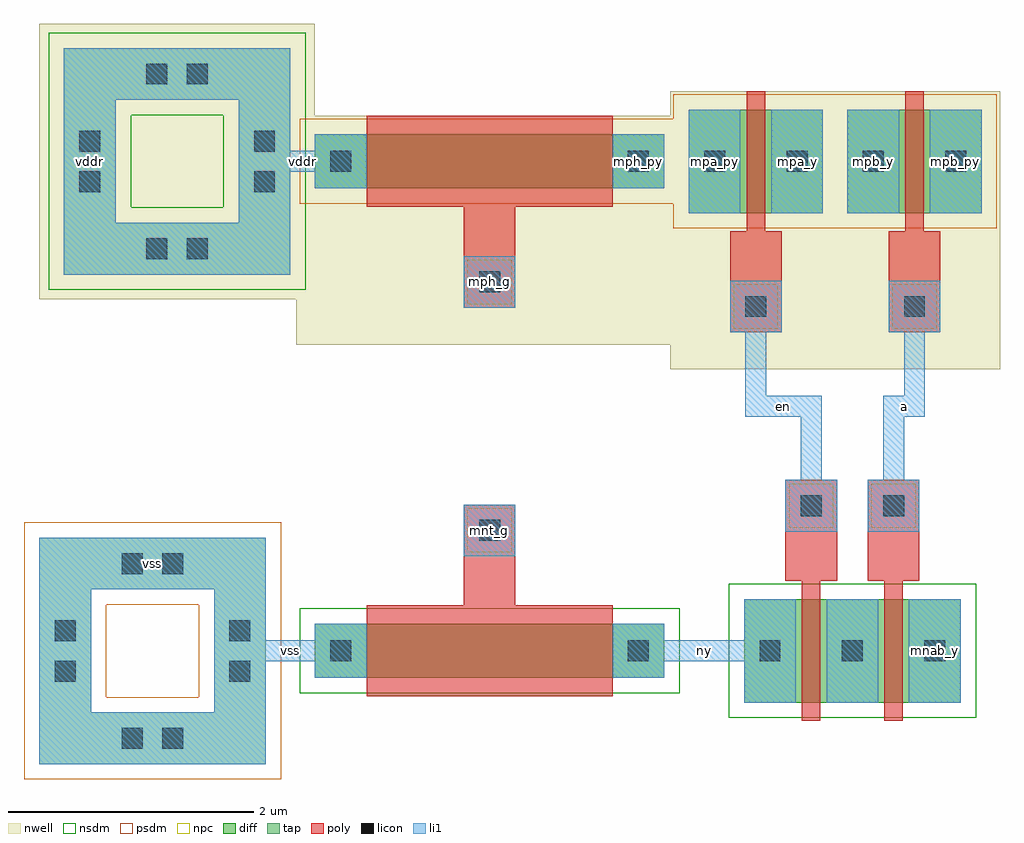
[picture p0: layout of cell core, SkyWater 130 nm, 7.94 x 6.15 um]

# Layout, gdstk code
from math import pi, radians
import gdstk
lib = gdstk.Library(unit=1e-6, precision=1e-09)
def R(c, l, rs):  # rectangles x0, y0, x1, y1
    for r in rs: c.add(gdstk.rectangle(r[:2], r[2:], *l))
def A(c, l, x, y, w, h, nx, ny, dx, dy):  # array of equal rectangles
    R(c, l, [(x+i*dx, y+j*dy, x+i*dx+w, y+j*dy+h) for i in range(nx) for j in range(ny)])
def P(c, l, *ps):  # polygons
    for p in ps: c.add(gdstk.Polygon(p, *l))
nwell = (64, 20)
diff = (65, 20)
tap = (65, 44)
poly = (66, 20)
licon = (66, 44)
li1 = (67, 20)
nsdm = (93, 44)
psdm = (94, 20)
npc = (95, 20)

mos_array = lib.new_cell('mos_array')
R(mos_array, nwell, [(-0.15,-0.15,2.99,1.71)])
R(mos_array, diff, [(0,0,2.84,0.44)])
R(mos_array, poly, [(0.42,-0.15,2.42,0.44), (0.42,0.44,2.42,0.59), (0.42,0.44,2.42,0.59), (1.21,0.59,1.63,1.41)])
R(mos_array, licon, [(0.125,0.135,0.295,0.305), (2.545,0.135,2.715,0.305), (1.335,1.115,1.505,1.285)])
R(mos_array, li1, [(0,0,0.42,0.44), (2.42,0,2.84,0.44), (1.21,0.99,1.63,1.41)])
R(mos_array, psdm, [(-0.125,-0.125,2.965,0.565)])
R(mos_array, npc, [(1.24,1.02,1.6,1.38)])

mph__mph = lib.new_cell('mph__mph')
mph__mph.add(gdstk.Reference(mos_array, (0,0)))

mos_array_1 = lib.new_cell('mos_array$1')
R(mos_array_1, nwell, [(-0.15,-0.15,1.24,2.11)])
R(mos_array_1, diff, [(0,0,1.09,0.84)])
R(mos_array_1, poly, [(0.47,-0.15,0.62,0.84), (0.47,0.84,0.62,0.99), (0.47,0.84,0.62,0.99), (0.335,0.99,0.755,1.81)])
R(mos_array_1, licon, [(0.125,0.335,0.295,0.505), (0.795,0.335,0.965,0.505), (0.46,1.515,0.63,1.685)])
R(mos_array_1, li1, [(0,0,0.42,0.84), (0.67,0,1.09,0.84), (0.335,1.39,0.755,1.81)])
R(mos_array_1, psdm, [(-0.125,-0.125,1.215,0.965)])
R(mos_array_1, npc, [(0.365,1.42,0.725,1.78)])

mpa__mpa = lib.new_cell('mpa__mpa')
mpa__mpa.add(gdstk.Reference(mos_array_1, (0,0)))

mos_array_2 = lib.new_cell('mos_array$2')
R(mos_array_2, nwell, [(-0.15,-0.15,1.24,2.11)])
R(mos_array_2, diff, [(0,0,1.09,0.84)])
R(mos_array_2, poly, [(0.47,-0.15,0.62,0.84), (0.47,0.84,0.62,0.99), (0.47,0.84,0.62,0.99), (0.335,0.99,0.755,1.81)])
R(mos_array_2, licon, [(0.125,0.335,0.295,0.505), (0.795,0.335,0.965,0.505), (0.46,1.515,0.63,1.685)])
R(mos_array_2, li1, [(0,0,0.42,0.84), (0.67,0,1.09,0.84), (0.335,1.39,0.755,1.81)])
R(mos_array_2, psdm, [(-0.125,-0.125,1.215,0.965)])
R(mos_array_2, npc, [(0.365,1.42,0.725,1.78)])

mpb__mpb = lib.new_cell('mpb__mpb')
mpb__mpb.add(gdstk.Reference(mos_array_2, (0,0)))

mos_array_3 = lib.new_cell('mos_array$3')
R(mos_array_3, diff, [(0,0,2.84,0.44)])
R(mos_array_3, poly, [(0.42,-0.15,2.42,0.44), (0.42,0.44,2.42,0.59), (0.42,0.44,2.42,0.59), (1.21,0.59,1.63,1.41)])
R(mos_array_3, licon, [(0.125,0.135,0.295,0.305), (2.545,0.135,2.715,0.305), (1.335,1.115,1.505,1.285)])
R(mos_array_3, li1, [(0,0,0.42,0.44), (2.42,0,2.84,0.44), (1.21,0.99,1.63,1.41)])
R(mos_array_3, nsdm, [(-0.125,-0.125,2.965,0.565)])
R(mos_array_3, npc, [(1.24,1.02,1.6,1.38)])

mnt__mnt = lib.new_cell('mnt__mnt')
mnt__mnt.add(gdstk.Reference(mos_array_3, (0,0)))

mos_array_4 = lib.new_cell('mos_array$4')
R(mos_array_4, diff, [(0,0,1.76,0.84)])
R(mos_array_4, poly, [(0.47,-0.15,0.62,0.84), (1.14,-0.15,1.29,0.84), (0.47,0.84,0.62,0.99), (0.47,0.84,0.62,0.99), (1.14,0.84,1.29,0.99), (1.14,0.84,1.29,0.99), (0.335,0.99,0.755,1.81), (1.005,0.99,1.425,1.81)])
A(mos_array_4, licon, 0.125, 0.335, 0.17, 0.17, 3, 1, 0.67, 0)
R(mos_array_4, licon, [(0.46,1.515,0.63,1.685), (1.13,1.515,1.3,1.685)])
A(mos_array_4, li1, 0, 0, 0.42, 0.84, 3, 1, 0.67, 0)
R(mos_array_4, li1, [(0.335,1.39,0.755,1.81), (1.005,1.39,1.425,1.81)])
R(mos_array_4, nsdm, [(-0.125,-0.125,1.885,0.965)])
R(mos_array_4, npc, [(0.365,1.42,0.725,1.78), (1.035,1.42,1.395,1.78)])

mnab__mnab = lib.new_cell('mnab__mnab')
mnab__mnab.add(gdstk.Reference(mos_array_4, (0,0)))

guard_ring = lib.new_cell('guard_ring')
R(guard_ring, nwell, [(-0.2,-0.2,2.04,2.04)])
P(guard_ring, tap, [(0,0),(0,1.42),(0.42,1.42),(0.42,0.42),(1.42,0.42),(1.42,1.42),(0,1.42),(0,1.84),(1.84,1.84),(1.84,0)])
R(guard_ring, licon, [(0.67,0.125,0.84,0.295), (1,0.125,1.17,0.295), (0.125,0.67,0.295,0.84), (1.545,0.67,1.715,0.84), (0.125,1,0.295,1.17), (1.545,1,1.715,1.17), (0.67,1.545,0.84,1.715), (1,1.545,1.17,1.715)])
P(guard_ring, li1, [(0,0),(0,1.42),(0.42,1.42),(0.42,0.42),(1.42,0.42),(1.42,1.42),(0,1.42),(0,1.84),(1.84,1.84),(1.84,0)])
P(guard_ring, nsdm, [(-0.125,-0.125),(-0.125,1.295),(0.545,1.295),(0.545,0.545),(1.295,0.545),(1.295,1.295),(-0.125,1.295),(-0.125,1.965),(1.965,1.965),(1.965,-0.125)])

nwell_tap__nwell_tap = lib.new_cell('nwell_tap__nwell_tap')
nwell_tap__nwell_tap.add(gdstk.Reference(guard_ring, (0,0)))

guard_ring_1 = lib.new_cell('guard_ring$1')
P(guard_ring_1, tap, [(0,0),(0,1.42),(0.42,1.42),(0.42,0.42),(1.42,0.42),(1.42,1.42),(0,1.42),(0,1.84),(1.84,1.84),(1.84,0)])
R(guard_ring_1, licon, [(0.67,0.125,0.84,0.295), (1,0.125,1.17,0.295), (0.125,0.67,0.295,0.84), (1.545,0.67,1.715,0.84), (0.125,1,0.295,1.17), (1.545,1,1.715,1.17), (0.67,1.545,0.84,1.715), (1,1.545,1.17,1.715)])
P(guard_ring_1, li1, [(0,0),(0,1.42),(0.42,1.42),(0.42,0.42),(1.42,0.42),(1.42,1.42),(0,1.42),(0,1.84),(1.84,1.84),(1.84,0)])
P(guard_ring_1, psdm, [(-0.125,-0.125),(-0.125,1.295),(0.545,1.295),(0.545,0.545),(1.295,0.545),(1.295,1.295),(-0.125,1.295),(-0.125,1.965),(1.965,1.965),(1.965,-0.125)])

psub_tap__psub_tap = lib.new_cell('psub_tap__psub_tap')
psub_tap__psub_tap.add(gdstk.Reference(guard_ring_1, (0,0)))

core = lib.new_cell('core')
R(core, li1, [(3.825,1.39,4.245,1.56), (4.495,1.39,4.915,1.56), (3.375,2.84,3.795,3.01), (4.665,2.84,5.085,3.01)])
core.add(gdstk.FlexPath([(0.21,4.19),(-0.41,4.19)], 0.17, ends="flush", simple_path=True, layer=67, datatype=20))  # li1
core.add(gdstk.FlexPath([(0.21,0.21),(-0.61,0.21)], 0.17, ends="flush", simple_path=True, layer=67, datatype=20))  # li1
core.add(gdstk.FlexPath([(2.63,0.21),(3.7,0.21)], 0.17, ends="flush", simple_path=True, layer=67, datatype=20))  # li1
core.add(gdstk.FlexPath([(3.585,3.01),(3.585,2.2),(4.035,2.2),(4.035,1.39)], 0.17, ends="flush", simple_path=True, layer=67, datatype=20))  # li1
core.add(gdstk.FlexPath([(4.875,3.01),(4.875,2.2),(4.705,2.2),(4.705,1.39)], 0.17, ends="flush", simple_path=True, layer=67, datatype=20))  # li1
core.add(gdstk.Reference(mph__mph, (0,4.41), x_reflection=True))
core.add(gdstk.Reference(mpa__mpa, (3.04,4.61), x_reflection=True))
core.add(gdstk.Reference(mpb__mpb, (5.42,4.61), rotation=pi))
core.add(gdstk.Reference(mnt__mnt, (0,-0.01)))
core.add(gdstk.Reference(mnab__mnab, (3.49,-0.21)))
core.add(gdstk.Reference(nwell_tap__nwell_tap, (-2.04,3.27)))
core.add(gdstk.Reference(psub_tap__psub_tap, (-2.24,-0.71)))
core.add(gdstk.Label('vddr', (-0.1,4.19), layer=67, texttype=5))
core.add(gdstk.Label('vss', (-0.2,0.21), layer=67, texttype=5))
core.add(gdstk.Label('ny', (3.165,0.21), layer=67, texttype=5))
core.add(gdstk.Label('en', (3.81,2.2), layer=67, texttype=5))
core.add(gdstk.Label('a', (4.79,2.2), layer=67, texttype=5))
core.add(gdstk.Label('vddr', (-1.83,4.19), layer=67, texttype=5))
core.add(gdstk.Label('vss', (-1.32,0.92), layer=67, texttype=5))
core.add(gdstk.Label('mph_py', (2.63,4.19), layer=67, texttype=5))
core.add(gdstk.Label('mpa_py', (3.25,4.19), layer=67, texttype=5))
core.add(gdstk.Label('mpb_py', (5.21,4.19), layer=67, texttype=5))
core.add(gdstk.Label('mpa_y', (3.92,4.19), layer=67, texttype=5))
core.add(gdstk.Label('mpb_y', (4.54,4.19), layer=67, texttype=5))
core.add(gdstk.Label('mnab_y', (5.04,0.21), layer=67, texttype=5))
core.add(gdstk.Label('mph_g', (1.42,3.21), layer=67, texttype=5))
core.add(gdstk.Label('mnt_g', (1.42,1.19), layer=67, texttype=5))

lib.write_gds('core.gds')
